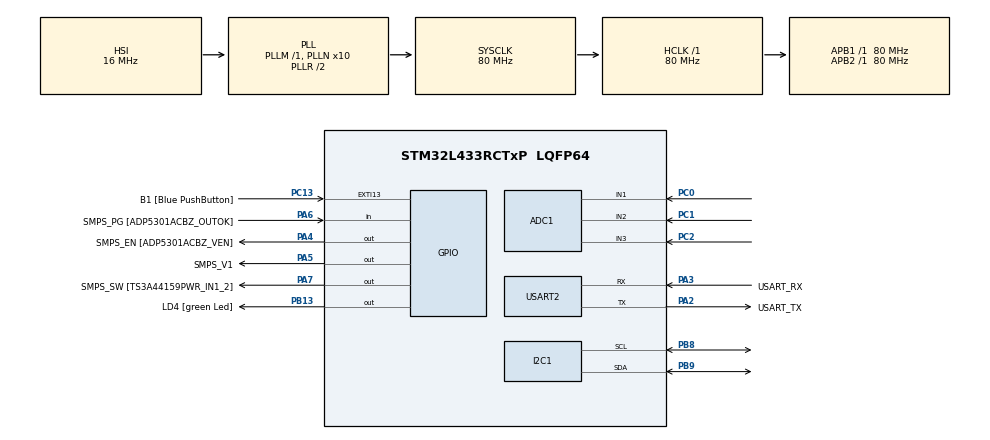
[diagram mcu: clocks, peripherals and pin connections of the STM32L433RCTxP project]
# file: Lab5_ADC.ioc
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ADC1.Channel-2\#ChannelRegularConversion=ADC_CHANNEL_1
ADC1.Channel-3\#ChannelRegularConversion=ADC_CHANNEL_2
ADC1.Channel-4\#ChannelRegularConversion=ADC_CHANNEL_3
ADC1.ClockPrescaler=ADC_CLOCK_ASYNC_DIV4
ADC1.ContinuousConvMode=ENABLE
ADC1.NbrOfConversion=3
ADC1.NbrOfConversionFlag=1
ADC1.OffsetNumber-2\#ChannelRegularConversion=ADC_OFFSET_NONE
ADC1.OffsetNumber-3\#ChannelRegularConversion=ADC_OFFSET_NONE
ADC1.OffsetNumber-4\#ChannelRegularConversion=ADC_OFFSET_NONE
ADC1.Rank-2\#ChannelRegularConversion=1
ADC1.Rank-3\#ChannelRegularConversion=2
ADC1.Rank-4\#ChannelRegularConversion=3
ADC1.SamplingTime-2\#ChannelRegularConversion=ADC_SAMPLETIME_640CYCLES_5
ADC1.SamplingTime-3\#ChannelRegularConversion=ADC_SAMPLETIME_640CYCLES_5
ADC1.SamplingTime-4\#ChannelRegularConversion=ADC_SAMPLETIME_640CYCLES_5
ADC1.master=1
I2C1.Timing=0x10D19CE4
Mcu.Family=STM32L4
Mcu.Name=STM32L433RCTxP
Mcu.Package=LQFP64
NVIC.ADC1_IRQn=true\:0\:0\:false\:false\:true\:true\:true\:true
NVIC.PriorityGroup=NVIC_PRIORITYGROUP_4
NVIC.TIM2_IRQn=true\:0\:0\:false\:false\:true\:true\:true\:true
PA13\ (JTMS-SWDIO).GPIO_Label=TMS
PA13\ (JTMS-SWDIO).Mode=Serial_Wire
PA13\ (JTMS-SWDIO).Signal=SYS_JTMS-SWDIO
PA14\ (JTCK-SWCLK).GPIO_Label=TCK
PA14\ (JTCK-SWCLK).Mode=Serial_Wire
PA14\ (JTCK-SWCLK).Signal=SYS_JTCK-SWCLK
PA2.GPIO_Label=USART_TX
PA2.GPIO_Mode=GPIO_MODE_AF_PP
PA2.GPIO_PuPd=GPIO_NOPULL
PA2.GPIO_Speed=GPIO_SPEED_FREQ_VERY_HIGH
PA2.Mode=Asynchronous
PA2.Signal=USART2_TX
PA3.GPIO_Label=USART_RX
PA3.GPIO_Mode=GPIO_MODE_AF_PP
PA3.GPIO_PuPd=GPIO_NOPULL
PA3.GPIO_Speed=GPIO_SPEED_FREQ_VERY_HIGH
PA3.Mode=Asynchronous
PA3.Signal=USART2_RX
PA4.GPIO_Label=SMPS_EN [ADP5301ACBZ_VEN]
PA4.Signal=GPIO_Output
PA5.GPIO_Label=SMPS_V1
PA5.GPIO_ModeDefaultOutputPP=GPIO_MODE_OUTPUT_PP
PA5.GPIO_PuPd=GPIO_NOPULL
PA5.GPIO_Speed=GPIO_SPEED_FREQ_LOW
PA5.Signal=GPIO_Output
PA6.GPIO_Label=SMPS_PG [ADP5301ACBZ_OUTOK]
PA6.GPIO_PuPd=GPIO_PULLUP
PA6.Signal=GPIO_Input
PA7.GPIO_Label=SMPS_SW [TS3A44159PWR_IN1_2]
PA7.Signal=GPIO_Output
PB13.GPIO_Label=LD4 [green Led]
PB13.Signal=GPIO_Output
PB3\ (JTDO-TRACESWO).GPIO_Label=SWO
PB3\ (JTDO-TRACESWO).Signal=SYS_JTDO-SWO
PB8.Mode=I2C
PB8.Signal=I2C1_SCL
PB9.Mode=I2C
PB9.Signal=I2C1_SDA
PC0.Signal=ADCx_IN1
PC1.Signal=ADCx_IN2
PC13.GPIO_Label=B1 [Blue PushButton]
PC13.GPIO_ModeDefaultEXTI=GPIO_MODE_IT_FALLING
PC13.GPIO_PuPd=GPIO_NOPULL
PC13.Signal=GPXTI13
PC14-OSC32_IN\ (PC14).Mode=LSE-External-Oscillator
PC14-OSC32_IN\ (PC14).Signal=RCC_OSC32_IN
PC15-OSC32_OUT\ (PC15).Mode=LSE-External-Oscillator
PC15-OSC32_OUT\ (PC15).Signal=RCC_OSC32_OUT
PC2.Signal=ADCx_IN3
PH0-OSC_IN\ (PH0).GPIO_Label=MCO
PH0-OSC_IN\ (PH0).Mode=HSE-External-Clock-Source
PH0-OSC_IN\ (PH0).Signal=RCC_OSC_IN
PH1-OSC_OUT\ (PH1).Signal=RCC_OSC_OUT
ProjectManager.HeapSize=0x200
ProjectManager.StackSize=0x400
ProjectManager.TargetToolchain=STM32CubeIDE
RCC.ADCFreq_Value=64000000
RCC.AHBFreq_Value=80000000
RCC.APB1Freq_Value=80000000
RCC.APB1TimFreq_Value=80000000
RCC.APB2Freq_Value=80000000
RCC.APB2TimFreq_Value=80000000
RCC.CortexFreq_Value=80000000
RCC.HCLKFreq_Value=80000000
RCC.HSE_VALUE=8000000
RCC.HSI48_VALUE=48000000
RCC.HSI_VALUE=16000000
RCC.MSI_VALUE=4000000
RCC.PLLN=10
RCC.PLLSourceVirtual=RCC_PLLSOURCE_HSI
RCC.PREFETCH_ENABLE=1
RCC.SYSCLKFreq_VALUE=80000000
RCC.SYSCLKSource=RCC_SYSCLKSOURCE_PLLCLK
RCC.USBFreq_Value=64000000
RCC.VCOOutputFreq_Value=160000000
SH.ADCx_IN1.0=ADC1_IN1,IN1-Single-Ended
SH.ADCx_IN2.0=ADC1_IN2,IN2-Single-Ended
SH.ADCx_IN3.0=ADC1_IN3,IN3-Single-Ended
TIM2.Prescaler=(80-1)
USART2.VirtualMode-Asynchronous=VM_ASYNC
VP_TIM2_VS_ClockSourceINT.Mode=Internal
board=NUCLEO-L433RC-P

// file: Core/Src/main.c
/* USER CODE BEGIN Header */
/**
  ******************************************************************************
  * @file           : main.c
  * @brief          : Main program body
  ******************************************************************************
  * @attention
  *
  * Copyright (c) 2025 STMicroelectronics.
  * All rights reserved.
  *
  * This software is licensed under terms that can be found in the LICENSE file
  * in the root directory of this software component.
  * If no LICENSE file comes with this software, it is provided AS-IS.
  *
  ******************************************************************************
  */
/* USER CODE END Header */
#include "main.h"

/* USER CODE BEGIN Includes */
#include "stdio.h"
#include "lcd.h"
/* USER CODE END Includes */

/* USER CODE BEGIN PD */
#define ADC_Buffer_len 3
#define JOY_X_IX 0
#define JOY_Y_IX 1
#define LM35_IX  2
#define LIGHT_IX 3

uint16_t ADC_Buffer[ADC_Buffer_len];
uint8_t ADCSet = 0;
/* USER CODE END PD */

ADC_HandleTypeDef hadc1;

I2C_HandleTypeDef hi2c1;

TIM_HandleTypeDef htim2;

UART_HandleTypeDef huart2;

/* USER CODE BEGIN PV */
TextLCDType lcd;
/* USER CODE END PV */

void SystemClock_Config(void);
static void MX_GPIO_Init(void);
static void MX_USART2_UART_Init(void);
static void MX_ADC1_Init(void);
static void MX_TIM2_Init(void);
static void MX_I2C1_Init(void);

/* USER CODE BEGIN 0 */

float normalize_12bit(uint16_t x)
{
	return ((float)x / 4060);
}

float normalize_12bit_posneg(uint16_t x)
{
	return ((float)x - 2030) / 2030;
}

float flying_fish_to_lumen(uint16_t light_reading)
{
	return (float) (light_reading - 4095) / (-4095.0);
}

void HAL_ADC_ConvCpltCallback(ADC_HandleTypeDef *hadc)
{
	if(hadc->Instance == ADC1){
		static uint8_t channel = 0;
		ADC_Buffer[channel] = HAL_ADC_GetValue(hadc);

		channel = (channel + 1) % ADC_Buffer_len;
		ADCSet = 1;
	}
}

/* USER CODE END 0 */

int main(void)
{

  /* MCU Configuration--------------------------------------------------------*/

  /* Reset of all peripherals, Initializes the Flash interface and the Systick. */
  HAL_Init();

  /* Configure the system clock */
  SystemClock_Config();

  /* Initialize all configured peripherals */
  MX_GPIO_Init();
  MX_USART2_UART_Init();
  MX_ADC1_Init();
  MX_TIM2_Init();
  MX_I2C1_Init();
  /* USER CODE BEGIN 2 */

  TextLCD_Init(&lcd,&hi2c1,0x4E);
  char SensorInfo[16];
  HAL_ADC_Start_IT(&hadc1);

  /* USER CODE END 2 */

  /* Infinite loop */
  /* USER CODE BEGIN WHILE */
  while (1)
  {

	  if(ADCSet)
	  {
	  //X JOYSTICK //
	  sprintf(SensorInfo, "X:%.2f  ",normalize_12bit_posneg(ADC_Buffer[JOY_X_IX]));
	  TextLCD_Position(&lcd,0,0);
	  TextLCD_PutStr(&lcd,SensorInfo);

	  //Y JOYSTICK //
	  sprintf(SensorInfo, "Y:%.2f  ",normalize_12bit_posneg(ADC_Buffer[JOY_Y_IX]));
	  TextLCD_Position(&lcd,0,1);
	  TextLCD_PutStr(&lcd,SensorInfo);

	  //TEMP SENSOR //
	 // sprintf(SensorInfo, "%.1f°C  ", lm35_to_celsius(ADC_Buffer[LIGHT_IX]));
	 // TextLCD_Position(&lcd,11,1);
	 // TextLCD_PutStr(&lcd,SensorInfo);

	  //LIGHT SENSOR //
	  sprintf(SensorInfo, "%.3fL  ", flying_fish_to_lumen(ADC_Buffer[LM35_IX]));
	  TextLCD_Position(&lcd,10,1);
	  TextLCD_PutStr(&lcd,SensorInfo);

	  ADCSet = 0;
	  }

	  My_Delay2(400);

    /* USER CODE END WHILE */

  }
}

void SystemClock_Config(void)
{
  RCC_OscInitTypeDef RCC_OscInitStruct = {0};
  RCC_ClkInitTypeDef RCC_ClkInitStruct = {0};

  /** Configure the main internal regulator output voltage
  */
  if (HAL_PWREx_ControlVoltageScaling(PWR_REGULATOR_VOLTAGE_SCALE1) != HAL_OK)
  {
    Error_Handler();
  }

  /** Initializes the RCC Oscillators according to the specified parameters
  * in the RCC_OscInitTypeDef structure.
  */
  RCC_OscInitStruct.OscillatorType = RCC_OSCILLATORTYPE_HSI;
  RCC_OscInitStruct.HSIState = RCC_HSI_ON;
  RCC_OscInitStruct.HSICalibrationValue = RCC_HSICALIBRATION_DEFAULT;
  RCC_OscInitStruct.PLL.PLLState = RCC_PLL_ON;
  RCC_OscInitStruct.PLL.PLLSource = RCC_PLLSOURCE_HSI;
  RCC_OscInitStruct.PLL.PLLM = 1;
  RCC_OscInitStruct.PLL.PLLN = 10;
  RCC_OscInitStruct.PLL.PLLP = RCC_PLLP_DIV7;
  RCC_OscInitStruct.PLL.PLLQ = RCC_PLLQ_DIV2;
  RCC_OscInitStruct.PLL.PLLR = RCC_PLLR_DIV2;
  if (HAL_RCC_OscConfig(&RCC_OscInitStruct) != HAL_OK)
  {
    Error_Handler();
  }

  /** Initializes the CPU, AHB and APB buses clocks
  */
  RCC_ClkInitStruct.ClockType = RCC_CLOCKTYPE_HCLK|RCC_CLOCKTYPE_SYSCLK
                              |RCC_CLOCKTYPE_PCLK1|RCC_CLOCKTYPE_PCLK2;
  RCC_ClkInitStruct.SYSCLKSource = RCC_SYSCLKSOURCE_PLLCLK;
  RCC_ClkInitStruct.AHBCLKDivider = RCC_SYSCLK_DIV1;
  RCC_ClkInitStruct.APB1CLKDivider = RCC_HCLK_DIV1;
  RCC_ClkInitStruct.APB2CLKDivider = RCC_HCLK_DIV1;

  if (HAL_RCC_ClockConfig(&RCC_ClkInitStruct, FLASH_LATENCY_4) != HAL_OK)
  {
    Error_Handler();
  }
}

static void MX_ADC1_Init(void)
{

  ADC_ChannelConfTypeDef sConfig = {0};

  /** Common config
  */
  hadc1.Instance = ADC1;
  hadc1.Init.ClockPrescaler = ADC_CLOCK_ASYNC_DIV4;
  hadc1.Init.Resolution = ADC_RESOLUTION_12B;
  hadc1.Init.DataAlign = ADC_DATAALIGN_RIGHT;
  hadc1.Init.ScanConvMode = ADC_SCAN_ENABLE;
  hadc1.Init.EOCSelection = ADC_EOC_SINGLE_CONV;
  hadc1.Init.LowPowerAutoWait = DISABLE;
  hadc1.Init.ContinuousConvMode = ENABLE;
  hadc1.Init.NbrOfConversion = 3;
  hadc1.Init.DiscontinuousConvMode = DISABLE;
  hadc1.Init.ExternalTrigConv = ADC_SOFTWARE_START;
  hadc1.Init.ExternalTrigConvEdge = ADC_EXTERNALTRIGCONVEDGE_NONE;
  hadc1.Init.DMAContinuousRequests = DISABLE;
  hadc1.Init.Overrun = ADC_OVR_DATA_PRESERVED;
  hadc1.Init.OversamplingMode = DISABLE;
  if (HAL_ADC_Init(&hadc1) != HAL_OK)
  {
    Error_Handler();
  }

  /** Configure Regular Channel
  */
  sConfig.Channel = ADC_CHANNEL_1;
  sConfig.Rank = ADC_REGULAR_RANK_1;
  sConfig.SamplingTime = ADC_SAMPLETIME_640CYCLES_5;
  sConfig.SingleDiff = ADC_SINGLE_ENDED;
  sConfig.OffsetNumber = ADC_OFFSET_NONE;
  sConfig.Offset = 0;
  if (HAL_ADC_ConfigChannel(&hadc1, &sConfig) != HAL_OK)
  {
    Error_Handler();
  }

  /** Configure Regular Channel
  */
  sConfig.Channel = ADC_CHANNEL_2;
  sConfig.Rank = ADC_REGULAR_RANK_2;
  if (HAL_ADC_ConfigChannel(&hadc1, &sConfig) != HAL_OK)
  {
    Error_Handler();
  }

  /** Configure Regular Channel
  */
  sConfig.Channel = ADC_CHANNEL_3;
  sConfig.Rank = ADC_REGULAR_RANK_3;
  if (HAL_ADC_ConfigChannel(&hadc1, &sConfig) != HAL_OK)
  {
    Error_Handler();
  }

}

static void MX_I2C1_Init(void)
{

  hi2c1.Instance = I2C1;
  hi2c1.Init.Timing = 0x10D19CE4;
  hi2c1.Init.OwnAddress1 = 0;
  hi2c1.Init.AddressingMode = I2C_ADDRESSINGMODE_7BIT;
  hi2c1.Init.DualAddressMode = I2C_DUALADDRESS_DISABLE;
  hi2c1.Init.OwnAddress2 = 0;
  hi2c1.Init.OwnAddress2Masks = I2C_OA2_NOMASK;
  hi2c1.Init.GeneralCallMode = I2C_GENERALCALL_DISABLE;
  hi2c1.Init.NoStretchMode = I2C_NOSTRETCH_DISABLE;
  if (HAL_I2C_Init(&hi2c1) != HAL_OK)
  {
    Error_Handler();
  }

  /** Configure Analogue filter
  */
  if (HAL_I2CEx_ConfigAnalogFilter(&hi2c1, I2C_ANALOGFILTER_ENABLE) != HAL_OK)
  {
    Error_Handler();
  }

  /** Configure Digital filter
  */
  if (HAL_I2CEx_ConfigDigitalFilter(&hi2c1, 0) != HAL_OK)
  {
    Error_Handler();
  }

}

static void MX_TIM2_Init(void)
{

  TIM_ClockConfigTypeDef sClockSourceConfig = {0};
  TIM_MasterConfigTypeDef sMasterConfig = {0};

  htim2.Instance = TIM2;
  htim2.Init.Prescaler = (80-1);
  htim2.Init.CounterMode = TIM_COUNTERMODE_UP;
  htim2.Init.Period = 4294967295;
  htim2.Init.ClockDivision = TIM_CLOCKDIVISION_DIV1;
  htim2.Init.AutoReloadPreload = TIM_AUTORELOAD_PRELOAD_DISABLE;
  if (HAL_TIM_Base_Init(&htim2) != HAL_OK)
  {
    Error_Handler();
  }
  sClockSourceConfig.ClockSource = TIM_CLOCKSOURCE_INTERNAL;
  if (HAL_TIM_ConfigClockSource(&htim2, &sClockSourceConfig) != HAL_OK)
  {
    Error_Handler();
  }
  sMasterConfig.MasterOutputTrigger = TIM_TRGO_RESET;
  sMasterConfig.MasterSlaveMode = TIM_MASTERSLAVEMODE_DISABLE;
  if (HAL_TIMEx_MasterConfigSynchronization(&htim2, &sMasterConfig) != HAL_OK)
  {
    Error_Handler();
  }

}

static void MX_USART2_UART_Init(void)
{

  huart2.Instance = USART2;
  huart2.Init.BaudRate = 115200;
  huart2.Init.WordLength = UART_WORDLENGTH_8B;
  huart2.Init.StopBits = UART_STOPBITS_1;
  huart2.Init.Parity = UART_PARITY_NONE;
  huart2.Init.Mode = UART_MODE_TX_RX;
  huart2.Init.HwFlowCtl = UART_HWCONTROL_NONE;
  huart2.Init.OverSampling = UART_OVERSAMPLING_16;
  huart2.Init.OneBitSampling = UART_ONE_BIT_SAMPLE_DISABLE;
  huart2.AdvancedInit.AdvFeatureInit = UART_ADVFEATURE_NO_INIT;
  if (HAL_UART_Init(&huart2) != HAL_OK)
  {
    Error_Handler();
  }

}

static void MX_GPIO_Init(void)
{
  GPIO_InitTypeDef GPIO_InitStruct = {0};

  /* GPIO Ports Clock Enable */
  __HAL_RCC_GPIOC_CLK_ENABLE();
  __HAL_RCC_GPIOH_CLK_ENABLE();
  __HAL_RCC_GPIOA_CLK_ENABLE();
  __HAL_RCC_GPIOB_CLK_ENABLE();

  /*Configure GPIO pin Output Level */
  HAL_GPIO_WritePin(GPIOA, SMPS_EN_Pin|SMPS_V1_Pin|SMPS_SW_Pin, GPIO_PIN_RESET);

  /*Configure GPIO pin Output Level */
  HAL_GPIO_WritePin(LD4_GPIO_Port, LD4_Pin, GPIO_PIN_RESET);

  /*Configure GPIO pin : B1_Pin */
  GPIO_InitStruct.Pin = B1_Pin;
  GPIO_InitStruct.Mode = GPIO_MODE_IT_FALLING;
  GPIO_InitStruct.Pull = GPIO_NOPULL;
  HAL_GPIO_Init(B1_GPIO_Port, &GPIO_InitStruct);

  /*Configure GPIO pins : SMPS_EN_Pin SMPS_V1_Pin SMPS_SW_Pin */
  GPIO_InitStruct.Pin = SMPS_EN_Pin|SMPS_V1_Pin|SMPS_SW_Pin;
  GPIO_InitStruct.Mode = GPIO_MODE_OUTPUT_PP;
  GPIO_InitStruct.Pull = GPIO_NOPULL;
  GPIO_InitStruct.Speed = GPIO_SPEED_FREQ_LOW;
  HAL_GPIO_Init(GPIOA, &GPIO_InitStruct);

  /*Configure GPIO pin : SMPS_PG_Pin */
  GPIO_InitStruct.Pin = SMPS_PG_Pin;
  GPIO_InitStruct.Mode = GPIO_MODE_INPUT;
  GPIO_InitStruct.Pull = GPIO_PULLUP;
  HAL_GPIO_Init(SMPS_PG_GPIO_Port, &GPIO_InitStruct);

  /*Configure GPIO pin : LD4_Pin */
  GPIO_InitStruct.Pin = LD4_Pin;
  GPIO_InitStruct.Mode = GPIO_MODE_OUTPUT_PP;
  GPIO_InitStruct.Pull = GPIO_NOPULL;
  GPIO_InitStruct.Speed = GPIO_SPEED_FREQ_LOW;
  HAL_GPIO_Init(LD4_GPIO_Port, &GPIO_InitStruct);

}

/* USER CODE BEGIN 4 */
int _write(int file, char *ptr, int len)
{
  for (int i = 0; i < len; i++)
  {
    ITM_SendChar((*ptr++));
  }
  return len;
}
/* USER CODE END 4 */

void Error_Handler(void)
{
  __disable_irq();
  while (1)
  {
  }
}
